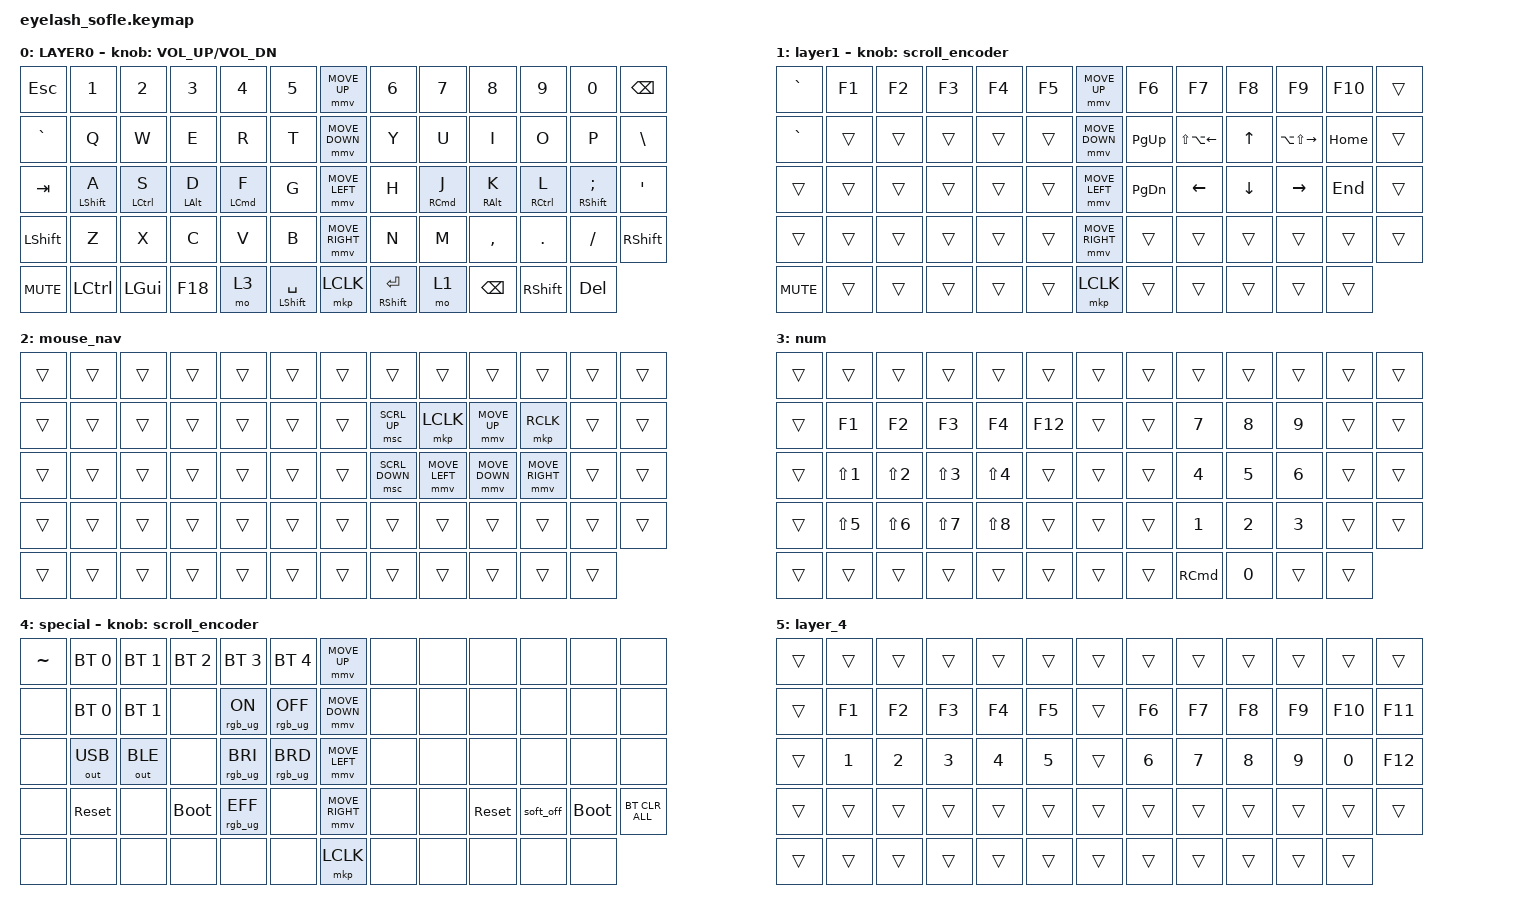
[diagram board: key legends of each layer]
#define ZMK_POINTING_DEFAULT_MOVE_VAL 1200  // 600
#define ZMK_POINTING_DEFAULT_SCRL_VAL 25   // 10

#include <input/processors.dtsi>
#include <zephyr/dt-bindings/input/input-event-codes.h>
#include <behaviors.dtsi>
#include <dt-bindings/zmk/bt.h>
#include <dt-bindings/zmk/keys.h>
#include <dt-bindings/zmk/outputs.h>
#include <dt-bindings/zmk/pointing.h>
#include <dt-bindings/zmk/rgb.h>

&mmv_input_listener { input-processors = <&zip_xy_scaler 2 1>; };

&msc_input_listener { input-processors = <&zip_scroll_scaler 2 1>; };

&msc {
    acceleration-exponent = <1>;      // 0
    time-to-max-speed-ms = <100>;       // 300
    delay-ms = <0>;                   // 0
};

&mmv {
    time-to-max-speed-ms = <500>;
    acceleration-exponent = <1>;
    trigger-period-ms = <16>;
};

/ {
    scroll_encoder: scroll_encoder {
        compatible = "zmk,behavior-sensor-rotate";
        #sensor-binding-cells = <0>;
        bindings = <&msc SCRL_DOWN>, <&msc SCRL_UP>;

        tap-ms = <100>;
    };

    HomeRow: HomeRow {
        compatible = "zmk,behavior-hold-tap";
        label = "HOMEROW";
        bindings = <&kp>, <&kp>;

        #binding-cells = <2>;
        tapping-term-ms = <200>;
        quick-tap-ms = <200>;
        require-prior-idle-ms = <200>;
        flavor = "tap-preferred";
    };

    tap_escape: tap_escape {
        compatible = "zmk,behavior-tap-dance";
        label = "TAP_ESCAPE";
        #binding-cells = <0>;
        tapping-term-ms = <200>;
        bindings = <&kp TAB>, <&kp ESCAPE>;
    };

    combos {
        compatible = "zmk,combos";

        layer3 {
            bindings = <&mo 5>;
            key-positions = <59 60>;
        };

        layer4 {
            bindings = <&mo 0>;
            key-positions = <59 60 61>;
        };

        left_bracket {
            bindings = <&kp LEFT_BRACKET>;
            key-positions = <16 15>;
        };

        left_brace {
            bindings = <&kp LEFT_BRACE>;
            key-positions = <28 29>;
        };

        left_parenthesis {
            bindings = <&kp LEFT_PARENTHESIS>;
            key-positions = <42 41>;
        };

        right_bracket {
            bindings = <&kp RIGHT_BRACKET>;
            key-positions = <22 23>;
        };

        right_brace {
            bindings = <&kp RIGHT_BRACE>;
            key-positions = <35 36>;
        };

        right_parenthesis {
            bindings = <&kp RIGHT_PARENTHESIS>;
            key-positions = <48 49>;
        };

        layer_4 {
            bindings = <&mo 4>;
            key-positions = <56 57 55>;
        };

        mouse_nav {
            bindings = <&mo 2>;
            key-positions = <56 60>;
        };

        less_than {
            bindings = <&kp LESS_THAN>;
            key-positions = <17 16>;
        };

        greater_than {
            bindings = <&kp GREATER_THAN>;
            key-positions = <21 22>;
        };

        minus {
            bindings = <&kp MINUS>;
            key-positions = <30 29>;
        };

        underscore {
            bindings = <&kp UNDER>;
            key-positions = <34 35>;
        };

        plus {
            bindings = <&kp PLUS>;
            key-positions = <43 42>;
        };

        equal {
            bindings = <&kp EQUAL>;
            key-positions = <47 48>;
        };

        caps {
            bindings = <&caps_word>;
            key-positions = <26 13>;
        };

        grave {
            bindings = <&kp GRAVE>;
            key-positions = <28 27>;
        };

        quotes {
            bindings = <&kp SINGLE_QUOTE>;
            key-positions = <37 36>;
        };

        esc_combo {
            bindings = <&kp ESCAPE>;
            key-positions = <13 14>;
        };
    };

    behaviors {
    };

    keymap {
        compatible = "zmk,keymap";

        layer0 {
            bindings = <
&kp ESC     &kp N1                 &kp N2                   &kp N3               &kp N4                   &kp N5                       &mmv MOVE_UP     &kp N6                      &kp N7                    &kp N8                &kp N9                    &kp N0                     &kp BACKSPACE
&kp GRAVE   &kp Q                  &kp W                    &kp E                &kp R                    &kp T                        &mmv MOVE_DOWN   &kp Y                       &kp U                     &kp I                 &kp O                     &kp P                      &kp BSLH
&kp TAB     &HomeRow LEFT_SHIFT A  &HomeRow LEFT_CONTROL S  &HomeRow LEFT_ALT D  &HomeRow LEFT_COMMAND F  &kp G                        &mmv MOVE_LEFT   &kp H                       &HomeRow RIGHT_COMMAND J  &HomeRow RIGHT_ALT K  &HomeRow RIGHT_CONTROL L  &HomeRow RIGHT_SHIFT SEMI  &kp APOS
&kp LSHFT   &kp Z                  &kp X                    &kp C                &kp V                    &kp B                        &mmv MOVE_RIGHT  &kp N                       &kp M                     &kp COMMA             &kp DOT                   &kp FSLH                   &kp RIGHT_SHIFT
&kp C_MUTE  &kp LCTRL              &kp LEFT_GUI             &kp F18              &mo 3                    &HomeRow LEFT_SHIFT SPACE    &mkp LCLK        &HomeRow RIGHT_SHIFT ENTER  &mo 1                     &kp BACKSPACE         &kp RIGHT_SHIFT           &kp DELETE
            >;

            sensor-bindings = <&inc_dec_kp C_VOLUME_UP C_VOL_DN>;
            display-name = "LAYER0";
        };

        nav {
            bindings = <
&kp GRAVE   &kp F1  &kp F2  &kp F3  &kp F4  &kp F5    &mmv MOVE_UP     &kp F6     &kp F7                  &kp F8    &kp F9                   &kp F10   &trans
&kp GRAVE   &trans  &trans  &trans  &trans  &trans    &mmv MOVE_DOWN   &kp PG_UP  &kp LS(LA(LEFT_ARROW))  &kp UP    &kp LA(LS(RIGHT_ARROW))  &kp HOME  &trans
&trans      &trans  &trans  &trans  &trans  &trans    &mmv MOVE_LEFT   &kp PG_DN  &kp LEFT                &kp DOWN  &kp RIGHT                &kp END   &trans
&trans      &trans  &trans  &trans  &trans  &trans    &mmv MOVE_RIGHT  &trans     &trans                  &trans    &trans                   &trans    &trans
&kp C_MUTE  &trans  &trans  &trans  &trans  &trans    &mkp LCLK        &trans     &trans                  &trans    &trans                   &trans
            >;

            display-name = "layer1";
            sensor-bindings = <&scroll_encoder>;
        };

        mouse_nav {
            bindings = <
&trans  &trans  &trans  &trans  &trans  &trans    &trans  &trans          &trans          &trans          &trans           &trans  &trans
&trans  &trans  &trans  &trans  &trans  &trans    &trans  &msc SCRL_UP    &mkp LCLK       &mmv MOVE_UP    &mkp RCLK        &trans  &trans
&trans  &trans  &trans  &trans  &trans  &trans    &trans  &msc SCRL_DOWN  &mmv MOVE_LEFT  &mmv MOVE_DOWN  &mmv MOVE_RIGHT  &trans  &trans
&trans  &trans  &trans  &trans  &trans  &trans    &trans  &trans          &trans          &trans          &trans           &trans  &trans
&trans  &trans  &trans  &trans  &trans  &trans    &trans  &trans          &trans          &trans          &trans           &trans
            >;
        };

        num {
            bindings = <
&trans  &trans      &trans      &trans      &trans      &trans     &trans  &trans  &trans             &trans  &trans  &trans  &trans
&trans  &kp F1      &kp F2      &kp F3      &kp F4      &kp F12    &trans  &trans  &kp N7             &kp N8  &kp N9  &trans  &trans
&trans  &kp LS(N1)  &kp LS(N2)  &kp LS(N3)  &kp LS(N4)  &trans     &trans  &trans  &kp N4             &kp N5  &kp N6  &trans  &trans
&trans  &kp LS(N5)  &kp LS(N6)  &kp LS(N7)  &kp LS(N8)  &trans     &trans  &trans  &kp N1             &kp N2  &kp N3  &trans  &trans
&trans  &trans      &trans      &trans      &trans      &trans     &trans  &trans  &kp RIGHT_COMMAND  &kp N0  &trans  &trans
            >;
        };

        special {
            bindings = <
&kp TILDE  &bt BT_SEL 0  &bt BT_SEL 1  &bt BT_SEL 2  &bt BT_SEL 3     &bt BT_SEL 4       &mmv MOVE_UP     &none  &none  &none       &none      &none        &none
&none      &bt BT_SEL 0  &bt BT_SEL 1  &none         &rgb_ug RGB_ON   &rgb_ug RGB_OFF    &mmv MOVE_DOWN   &none  &none  &none       &none      &none        &none
&none      &out OUT_USB  &out OUT_BLE  &none         &rgb_ug RGB_BRI  &rgb_ug RGB_BRD    &mmv MOVE_LEFT   &none  &none  &none       &none      &none        &none
&none      &sys_reset    &none         &bootloader   &rgb_ug RGB_EFF  &none              &mmv MOVE_RIGHT  &none  &none  &sys_reset  &soft_off  &bootloader  &bt BT_CLR_ALL
&none      &none         &none         &none         &none            &none              &mkp LCLK        &none  &none  &none       &none      &none
            >;

            sensor-bindings = <&scroll_encoder>;
        };

        layer_4 {
            bindings = <
&trans  &trans  &trans  &trans  &trans  &trans    &trans  &trans  &trans  &trans  &trans  &trans   &trans
&trans  &kp F1  &kp F2  &kp F3  &kp F4  &kp F5    &trans  &kp F6  &kp F7  &kp F8  &kp F9  &kp F10  &kp F11
&trans  &kp N1  &kp N2  &kp N3  &kp N4  &kp N5    &trans  &kp N6  &kp N7  &kp N8  &kp N9  &kp N0   &kp F12
&trans  &trans  &trans  &trans  &trans  &trans    &trans  &trans  &trans  &trans  &trans  &trans   &trans
&trans  &trans  &trans  &trans  &trans  &trans    &trans  &trans  &trans  &trans  &trans  &trans
            >;
        };
    };
};
